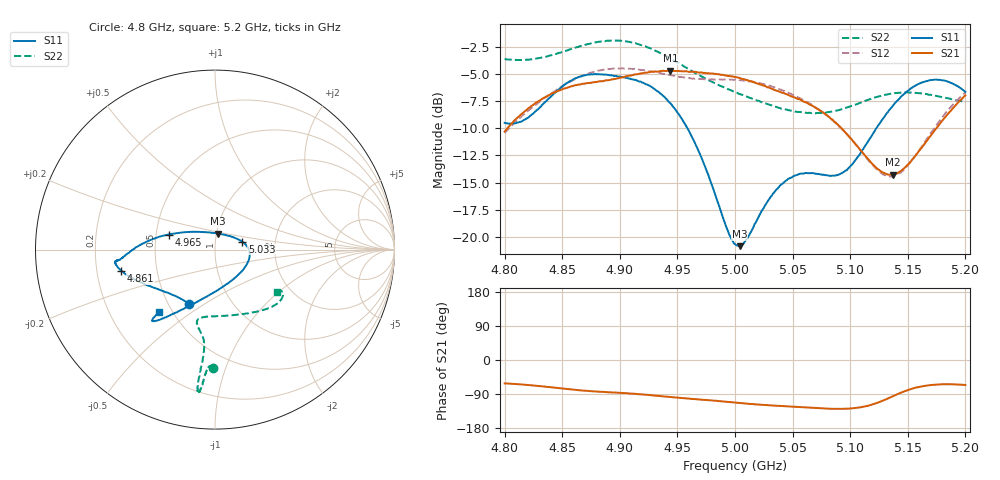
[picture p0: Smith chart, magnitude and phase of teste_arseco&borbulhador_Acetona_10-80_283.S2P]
! Network Analyzer HP8722D
! Hewlett-Packard
! Data name: Linha & Wilkinson
! Saver's name: Rodrigo Anjos
! Comments: Teste da utilização de aquisição
! continua pelo VNA HP8722D
! Time and date: 17/4/2025 16:43
!  Frequency  S11  S21  S12  S22
# HZ  S  MA R 50
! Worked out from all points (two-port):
!   401 points, 4.8 GHz to 5.2 GHz, reference 50 ohm
!   highest |S21| = -4.71 dB at 4.944 GHz (marker M1); lowest = -14.3 dB at 5.137 GHz (marker M2)
!   |S21| within 3 dB of the highest: 4.826 GHz to 5.063 GHz (236.9 MHz wide, 4.79 % of centre); 5.193012 GHz to end of sweep
!   lowest |S11| = -20.8 dB at 5.004 GHz (marker M3), VSWR 1.20, Z = 51 + j9.15 ohm
!   |S11| at or under -10 dB: 4.959 GHz to 5.123 GHz (164 MHz wide, 3.25 % of centre)
!   |S22| runs from -8.6 to -1.9 dB; largest |S21 - S12| = 0.88
!   S11 on the Smith chart (normalised r, x): 4.8 GHz: 0.64, -0.43; 4.861 GHz: 0.31, -0.10; 4.965 GHz: 0.58, +0.11; 5.033 GHz: 1.35, +0.12; 5.2 GHz: 0.43, -0.38
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4.8e9  0.3347 -115.1  0.3052 -61.8  0.3012 -176.0  0.6584 -91.1
4.819e9  0.3503 -135.3  0.3834 -65.6  0.375 -175.4  0.6538 -92.8
4.861e9  0.5353 -167.1  0.498 -78.7  0.5313 -178.8  0.7407 -95.3
4.867e9  0.5494 -169.5  0.5055 -80.5  0.5492 -179.9  0.7569 -95.3
4.9e9  0.5461 -173.7  0.54 -86.7  0.5954 174.0  0.7977 -96.8
4.934e9  0.4635 -179.6  0.5761 -94.9  0.5697 170.5  0.7053 -97.2
4.944e9  0.4117 175.8  0.5812 -97.6  0.5545 170.7  0.6612 -96.8
4.965e9  0.272 162.0  0.5753 -103.3  0.533 172.5  0.5688 -96.1
4.993e9  0.1095 117.4  0.552 -110.4  0.5296 174.7  0.481 -98.7
5e9  0.09278 93.9  0.544 -112.6  0.5292 174.7  0.4635 -100.1
5.004e9  0.09081 78.5  0.5394 -113.3  0.5257 174.7  0.4545 -100.9
5.033e9  0.1584 16.2  0.4784 -120.1  0.4898 173.3  0.4001 -103.6
5.048e9  0.187 1.3  0.4453 -122.7  0.4568 172.9  0.3813 -99.6
5.067e9  0.1966 -19.0  0.4011 -126.0  0.4035 172.5  0.3718 -88.9
5.085e9  0.1913 -47.5  0.3449 -129.0  0.3431 172.9  0.3786 -75.1
5.097e9  0.2029 -71.6  0.2978 -128.5  0.2974 174.6  0.3935 -65.5
5.121e9  0.3052 -108.7  0.2122 -115.9  0.2097 -170.2  0.4369 -49.4
5.134e9  0.3837 -119.1  0.1936 -99.7  0.1899 -152.3  0.4545 -43.1
5.137e9  0.4005 -120.8  0.1933 -95.6  0.1904 -147.6  0.4573 -41.9
5.15e9  0.4693 -126.4  0.2153 -79.6  0.213 -129.0  0.4617 -37.2
5.17e9  0.5262 -130.7  0.2925 -66.0  0.3005 -112.3  0.4503 -32.8
5.2e9  0.4646 -132.0  0.4478 -66.1  0.4608 -108.2  0.417 -34.5
